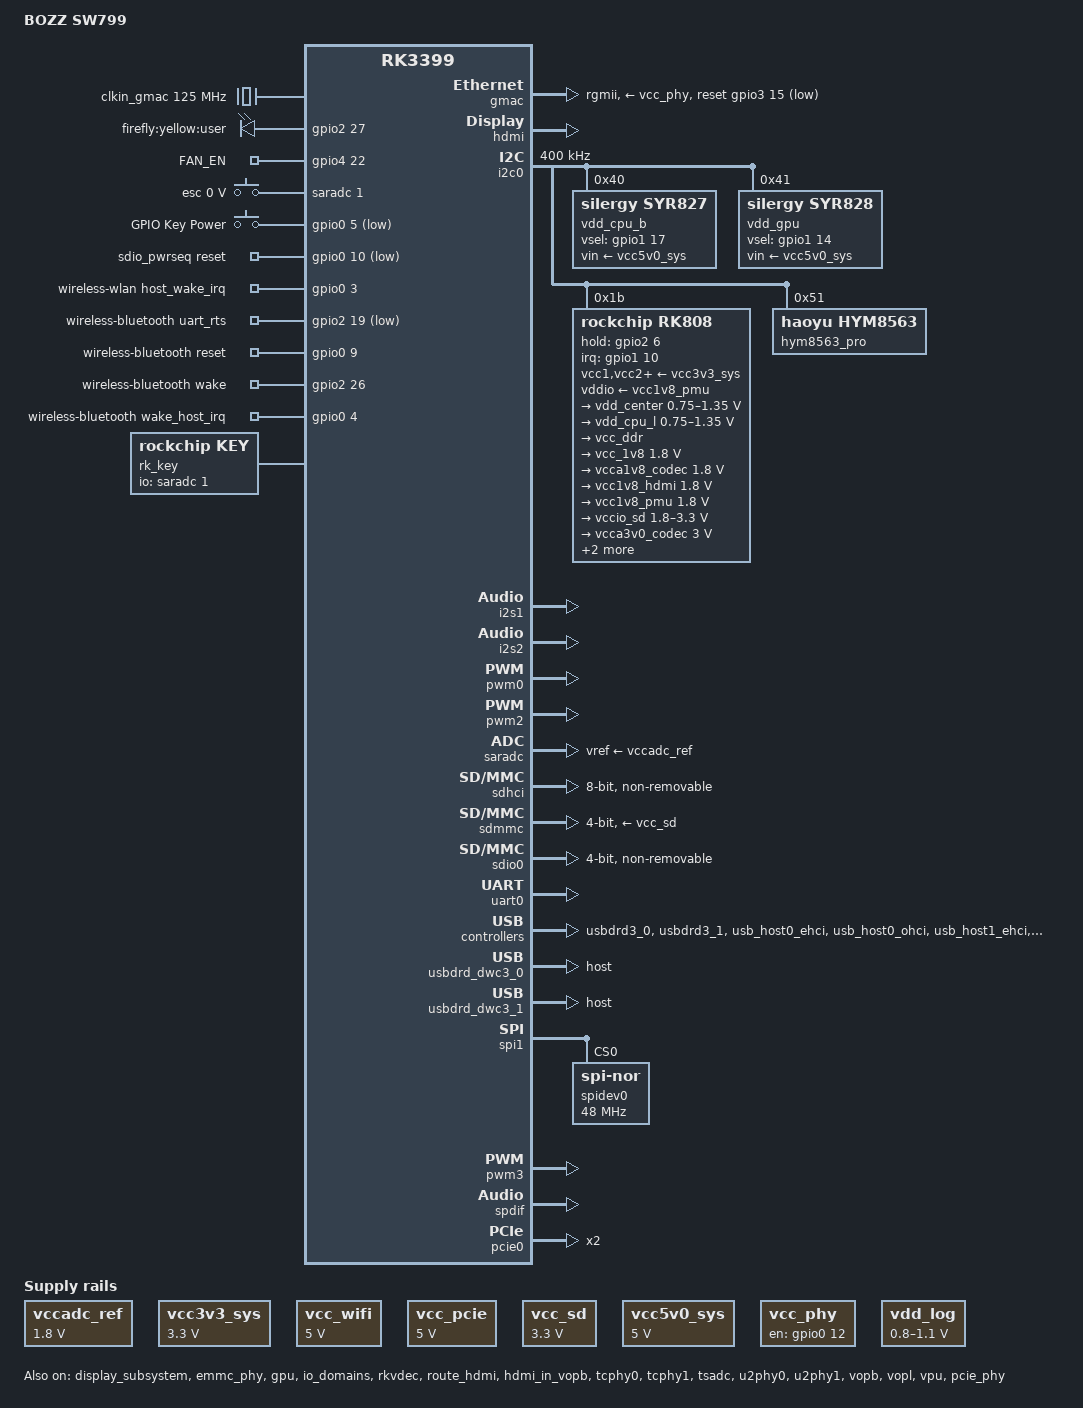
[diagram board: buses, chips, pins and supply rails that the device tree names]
/dts-v1/;

#include "dt-bindings/pwm/pwm.h"
#include "rk3399.dtsi"
#include "rk3399-opp.dtsi"
#include "rk3399-linux.dtsi"
#include <dt-bindings/input/input.h>
#include <dt-bindings/display/media-bus-format.h>
//#include "include/uapi/drm/drm_mode.h"

/ {
	model = "BOZZ SW799";
	compatible = "bozz,sw799", "rockchip,rk3399";

	iram: sram@ff8d0000 {
		compatible = "mmio-sram";
		reg = <0x0 0xff8d0000 0x0 0x20000>; /* 128k */
	};

	clkin_gmac: external-gmac-clock {
		compatible = "fixed-clock";
		clock-frequency = <125000000>;
		clock-output-names = "clkin_gmac";
		#clock-cells = <0>;
	};

	hdmi_sound: hdmi-sound {
		status = "okay";
		compatible = "simple-audio-card";
		simple-audio-card,format = "i2s";
		simple-audio-card,mclk-fs = <256>;
		simple-audio-card,name = "rockchip,hdmi";

		simple-audio-card,cpu {
			sound-dai = <&i2s2>;
		};
		simple-audio-card,codec {
			sound-dai = <&hdmi>;
		};
	};

	vccadc_ref: vccadc-ref {
		compatible = "regulator-fixed";
		regulator-name = "vcc1v8_sys";
		regulator-always-on;
		regulator-boot-on;
		regulator-min-microvolt = <1800000>;
		regulator-max-microvolt = <1800000>;
	};

	vcc3v3_sys: vcc3v3-sys {
		compatible = "regulator-fixed";
		regulator-name = "vcc3v3_sys";
		regulator-always-on;
		regulator-boot-on;
		regulator-min-microvolt = <3300000>;
		regulator-max-microvolt = <3300000>;
	};

	vcc_wifi: vcc-wifi {
		status = "okay";
		compatible = "regulator-fixed";
		regulator-name = "vcc_wifi";
		regulator-always-on;
		regulator-boot-on;
		regulator-min-microvolt = <5000000>;
		regulator-max-microvolt = <5000000>;
	};

	vcc_pcie: vcc-pcie {
		status = "okay";
		compatible = "regulator-fixed";
		regulator-name = "vcc_pcie";
		regulator-always-on;
		regulator-boot-on;
		regulator-min-microvolt = <5000000>;
		regulator-max-microvolt = <5000000>;
	};

	vcc_sd: vcc-sd {
		compatible = "regulator-fixed";
		regulator-name = "vcc_sd";
		regulator-always-on;
		regulator-boot-on;
		regulator-min-microvolt = <3300000>;
		regulator-max-microvolt = <3300000>;
	};

	vcc5v0_sys: vcc5v0-sys {
		compatible = "regulator-fixed";
		regulator-name = "vcc5v0_sys";
		regulator-always-on;
		regulator-boot-on;
		regulator-min-microvolt = <5000000>;
		regulator-max-microvolt = <5000000>;
	};

	vcc_phy: vcc-phy-regulator {
		compatible = "regulator-fixed";
		enable-active-high;
		gpio = <&gpio0 12 GPIO_ACTIVE_HIGH>;
		pinctrl-names = "default";
		pinctrl-0 = <&vcc_phy_h>;
		regulator-name = "vcc_phy";
		regulator-always-on;
		regulator-boot-on;
	};

	vdd_log: vdd-log {
		compatible = "pwm-regulator";
		pwms = <&pwm2 0 25000 1>;
		regulator-name = "vdd_log";
		regulator-min-microvolt = <800000>;
		regulator-max-microvolt = <1100000>;
		regulator-always-on;
		regulator-boot-on;

		/* for rockchip boot on */
		rockchip,pwm_id= <2>;
		rockchip,pwm_voltage = <1000000>;
	};

	leds {
		compatible = "gpio-leds";
		user {
			label = "firefly:yellow:user";
			linux,default-trigger = "ir-user-click";
			default-state = "off";
			gpios = <&gpio2 27 GPIO_ACTIVE_HIGH>;
			pinctrl-names = "default";
			pinctrl-0 = <&led_user>;
		};

		FAN_EN {
			//fan power
			gpios = <&gpio4 22 GPIO_ACTIVE_HIGH>;	//GPIO1_A1
			default-state = "on";
		};
	};

	adc-keys {
		compatible = "adc-keys";
		io-channels = <&saradc 1>;
		io-channel-names = "buttons";
		poll-interval = <300>;
		keyup-threshold-microvolt = <1800000>;

		esc-key {
			linux,code = <KEY_ESC>;
			label = "esc";
			press-threshold-microvolt = <0>;
		};
	};

	gpio-keys {
		compatible = "gpio-keys";
		#address-cells = <1>;
		#size-cells = <0>;
		autorepeat;

		pinctrl-names = "default";
		pinctrl-0 = <&pwrbtn>;

		button@0 {
			gpios = <&gpio0 5 GPIO_ACTIVE_LOW>;
			linux,code = <KEY_POWER>;
			label = "GPIO Key Power";
			linux,input-type = <1>;
			gpio-key,wakeup = <1>;
			debounce-interval = <100>;
		};
	};

	sdio_pwrseq: sdio-pwrseq {
		compatible = "mmc-pwrseq-simple";
		clocks = <&rk808 1>;
		clock-names = "ext_clock";
		pinctrl-names = "default";
		pinctrl-0 = <&wifi_enable_h>;

		/*
		 * On the module itself this is one of these (depending
		 * on the actual card populated):
		 * - SDIO_RESET_L_WL_REG_ON
		 * - PDN (power down when low)
		 */
		reset-gpios = <&gpio0 10 GPIO_ACTIVE_LOW>; /* GPIO0_B2 */
	};

	wireless-wlan {
		compatible = "wlan-platdata";
		rockchip,grf = <&grf>;
		wifi_chip_type = "ap6356s";
		sdio_vref = <1800>;
		WIFI,host_wake_irq = <&gpio0 3 GPIO_ACTIVE_HIGH>; /* GPIO0_a3 */
		status = "okay";
	};

	wireless-bluetooth {
		compatible = "bluetooth-platdata";
		clocks = <&rk808 1>;
		clock-names = "ext_clock";
		//wifi-bt-power-toggle;
		uart_rts_gpios = <&gpio2 19 GPIO_ACTIVE_LOW>; /* GPIO2_C3 */
		pinctrl-names = "default", "rts_gpio";
		pinctrl-0 = <&uart0_rts>;
		pinctrl-1 = <&uart0_gpios>;
		//BT,power_gpio  = <&gpio3 19 GPIO_ACTIVE_HIGH>; /* GPIOx_xx */
		BT,reset_gpio    = <&gpio0 9 GPIO_ACTIVE_HIGH>; /* GPIO0_B1 */
		BT,wake_gpio     = <&gpio2 26 GPIO_ACTIVE_HIGH>; /* GPIO2_D2 */
		BT,wake_host_irq = <&gpio0 4 GPIO_ACTIVE_HIGH>; /* GPIO0_A4 */
		status = "okay";
	};

	rk_key: rockchip-key {
		compatible = "rockchip,key";
		io-channels = <&saradc 1>;
		status = "okay";

		power-key {
			gpios = <&gpio0 5 GPIO_ACTIVE_LOW>;
			linux,code = <116>;
			label = "power";
			gpio-key,wakeup;
			status = "disabled";
		};

		recovery-key {
			linux,code = <113>;
			label = "F12";
			rockchip,adc_value = <4>;
		};
	};

};

&cpu_l0 {
	cpu-supply = <&vdd_cpu_l>;
};

&cpu_l1 {
	cpu-supply = <&vdd_cpu_l>;
};

&cpu_l2 {
	cpu-supply = <&vdd_cpu_l>;
};

&cpu_l3 {
	cpu-supply = <&vdd_cpu_l>;
};

&cpu_b0 {
	cpu-supply = <&vdd_cpu_b>;
};

&cpu_b1 {
	cpu-supply = <&vdd_cpu_b>;
};

&display_subsystem {
	status = "okay";
};

&emmc_phy {
	status = "okay";
};

&gmac {
	phy-supply = <&vcc_phy>;
	phy-mode = "rgmii";
	clock_in_out = "input";
	snps,reset-gpio = <&gpio3 15 GPIO_ACTIVE_LOW>;
	snps,reset-active-low;
	snps,reset-delays-us = <0 10000 50000>;
	assigned-clocks = <&cru SCLK_RMII_SRC>;
	assigned-clock-parents = <&clkin_gmac>;
	pinctrl-names = "default";
	pinctrl-0 = <&rgmii_pins>;
	tx_delay = <0x28>;
	rx_delay = <0x11>;
	status = "okay";
};

&gpu {
	status = "okay";
	mali-supply = <&vdd_gpu>;
};

&hdmi {
	#address-cells = <1>;
	#size-cells = <0>;
	#sound-dai-cells = <0>;
	status = "okay";
};

&i2c0 {
	status = "okay";
	i2c-scl-rising-time-ns = <168>;
	i2c-scl-falling-time-ns = <4>;
	clock-frequency = <400000>;

	vdd_cpu_b: syr827@40 {
		compatible = "silergy,syr827";
		reg = <0x40>;
		vin-supply = <&vcc5v0_sys>;
		regulator-compatible = "fan53555-reg";
		regulator-name = "vdd_cpu_b";
		regulator-min-microvolt = <712500>;
		regulator-max-microvolt = <1500000>;
		regulator-ramp-delay = <1000>;
		pinctrl-0 = <&vsel1_gpio>;
		vsel-gpios = <&gpio1 17 GPIO_ACTIVE_HIGH>;
		fcs,suspend-voltage-selector = <1>;
		regulator-always-on;
		regulator-boot-on;
		regulator-initial-state = <3>;
			regulator-state-mem {
				regulator-off-in-suspend;
			};
	};

	vdd_gpu: syr828@41 {
		compatible = "silergy,syr828";
		reg = <0x41>;
		vin-supply = <&vcc5v0_sys>;
		pinctrl-0 = <&vsel2_gpio>;
		vsel-gpios = <&gpio1 14 GPIO_ACTIVE_HIGH>;
		regulator-compatible = "fan53555-reg";
		regulator-name = "vdd_gpu";
		regulator-min-microvolt = <712500>;
		regulator-max-microvolt = <1500000>;
		regulator-ramp-delay = <1000>;
		fcs,suspend-voltage-selector = <1>;
		regulator-always-on;
		regulator-boot-on;
		regulator-initial-state = <3>;
			regulator-state-mem {
				regulator-off-in-suspend;
			};
	};

	rk808: pmic@1b {
		compatible = "rockchip,rk808";
		reg = <0x1b>;
		interrupt-parent = <&gpio1>;
		interrupts = <10 IRQ_TYPE_LEVEL_LOW>;
		pinctrl-names = "default";
		//pinctrl-0 = <&pmic_int_l &pmic_dvs2>;
		pinctrl-0 = <&pmic_int_l &pmic_dvs2>;
		rockchip,system-power-controller;
		wakeup-source;
		#clock-cells = <1>;
		clock-output-names = "xin32k", "rk808-clkout2";

		pmic,hold-gpio = <&gpio2 6 GPIO_ACTIVE_HIGH>;

		//vin-supply = <&sys_12v>;

		vcc1-supply = <&vcc3v3_sys>;
		vcc2-supply = <&vcc3v3_sys>;
		vcc3-supply = <&vcc3v3_sys>;
		vcc4-supply = <&vcc3v3_sys>;
		vcc6-supply = <&vcc3v3_sys>;
		vcc7-supply = <&vcc3v3_sys>;
		vcc8-supply = <&vcc3v3_sys>;
		vcc9-supply = <&vcc3v3_sys>;
		vcc10-supply = <&vcc3v3_sys>;
		vcc11-supply = <&vcc3v3_sys>;
		vcc12-supply = <&vcc3v3_sys>;
		vddio-supply = <&vcc1v8_pmu>;

		 /* RTC */

		rtc {
			status = "disabled";
		};

		regulators {
			vdd_center: DCDC_REG1 {
				regulator-always-on;
				regulator-boot-on;
				regulator-min-microvolt = <750000>;
				regulator-max-microvolt = <1350000>;
				regulator-ramp-delay = <6001>;
				regulator-name = "vdd_center";
				regulator-state-mem {
					regulator-off-in-suspend;
				};
			};

			vdd_cpu_l: DCDC_REG2 {
				regulator-always-on;
				regulator-boot-on;
				regulator-min-microvolt = <750000>;
				regulator-max-microvolt = <1350000>;
				regulator-ramp-delay = <6001>;
				regulator-name = "vdd_cpu_l";
				regulator-state-mem {
					regulator-off-in-suspend;
				};
			};

			vcc_ddr: DCDC_REG3 {
				regulator-always-on;
				regulator-boot-on;
				regulator-name = "vcc_ddr";
				regulator-state-mem {
					regulator-on-in-suspend;
				};
			};

			vcc_1v8: DCDC_REG4 {
				regulator-always-on;
				regulator-boot-on;
				regulator-min-microvolt = <1800000>;
				regulator-max-microvolt = <1800000>;
				regulator-name = "vcc_1v8";
				regulator-state-mem {
					regulator-on-in-suspend;
					regulator-suspend-microvolt = <1800000>;
				};
			};

			vcca1v8_codec: LDO_REG1 {
				regulator-always-on;
				regulator-boot-on;
				regulator-min-microvolt = <1800000>;
				regulator-max-microvolt = <1800000>;
				regulator-name = "vcca1v8_codec";
				regulator-state-mem {
					regulator-off-in-suspend;
				};
			};

			vcc1v8_hdmi: LDO_REG2 {
				regulator-always-on;
				regulator-boot-on;
				regulator-min-microvolt = <1800000>;
				regulator-max-microvolt = <1800000>;
				regulator-name = "vcc1v8_hdmi";
				regulator-state-mem {
					regulator-off-in-suspend;
				};
			};

			vcc1v8_pmu: LDO_REG3 {
				regulator-always-on;
				regulator-boot-on;
				regulator-min-microvolt = <1800000>;
				regulator-max-microvolt = <1800000>;
				regulator-name = "vcc1v8_pmu";
				regulator-state-mem {
					regulator-on-in-suspend;
					regulator-suspend-microvolt = <1800000>;
				};
			};

			vccio_sd: LDO_REG4 {
				regulator-always-on;
				regulator-boot-on;
				regulator-min-microvolt = <1800000>;
				regulator-max-microvolt = <3300000>;
				regulator-name = "vccio_sd";
				regulator-state-mem {
					regulator-on-in-suspend;
					regulator-suspend-microvolt = <3300000>;
				};
			};

			vcca3v0_codec: LDO_REG5 {
				regulator-always-on;
				regulator-boot-on;
				regulator-min-microvolt = <3000000>;
				regulator-max-microvolt = <3000000>;
				regulator-name = "vcca3v0_codec";
				regulator-state-mem {
					regulator-off-in-suspend;
				};
			};

			vcc_1v5: LDO_REG6 {
				regulator-always-on;
				regulator-boot-on;
				regulator-min-microvolt = <1500000>;
				regulator-max-microvolt = <1500000>;
				regulator-name = "vcc_1v5";
				regulator-state-mem {
					regulator-on-in-suspend;
					regulator-suspend-microvolt = <1500000>;
				};
			};

			vcca0v9_hdmi: LDO_REG7 {
				regulator-always-on;
				regulator-boot-on;
				regulator-min-microvolt = <900000>;
				regulator-max-microvolt = <900000>;
				regulator-name = "vcca0v9_hdmi";
				regulator-state-mem {
					regulator-off-in-suspend;
				};
			};

			vcc_3v0: LDO_REG8 {
				regulator-always-on;
				regulator-boot-on;
				regulator-min-microvolt = <3000000>;
				regulator-max-microvolt = <3000000>;
				regulator-name = "vcc_3v0";
				regulator-state-mem {
					regulator-on-in-suspend;
					regulator-suspend-microvolt = <3000000>;
				};
			};

			vcc3v3_s3: SWITCH_REG1 {
				regulator-always-on;
				regulator-boot-on;
				regulator-name = "vcc3v3_s3";
				regulator-state-mem {
					regulator-off-in-suspend;
				};
			};

			vcc3v3_s0: SWITCH_REG2 {
				regulator-always-on;
				regulator-boot-on;
				regulator-name = "vcc3v3_s0";
				regulator-state-mem {
					regulator-off-in-suspend;
				};
			};
		};
	};

	hym8563_pro: hym8563_pro@51 {
		compatible = "haoyu,hym8563";
		reg = <0x51>;
		status = "okay";
	};
};

&i2s1 {
	status = "okay";
	rockchip,i2s-broken-burst-len;
	rockchip,playback-channels = <2>;
	rockchip,capture-channels = <2>;
	#sound-dai-cells = <0>;
	assigned-clocks = <&cru SCLK_I2S1_DIV>, <&cru SCLK_I2S_8CH>;
	assigned-clock-parents = <&cru PLL_GPLL>, <&cru SCLK_I2S1_8CH>;
};

&i2s2 {
	#sound-dai-cells = <0>;
	dmas = <&dmac_bus 4>;
	dma-names = "tx";
	status = "okay";
};

&io_domains {
	status = "okay";
	bt656-supply = <&vcc_3v0>;		/* bt656_gpio2ab_ms */
	audio-supply = <&vcca1v8_codec>;	/* audio_gpio3d4a_ms */
	sdmmc-supply = <&vccio_sd>;		/* sdmmc_gpio4b_ms */
	gpio1830-supply = <&vcc_3v0>;		/* gpio1833_gpio4cd_ms */
};

&pmu_io_domains {
	status = "okay";
	pmu1830-supply = <&vcc_1v8>;
};

&pwm0 {
	status = "okay";
};

&pwm2 {
	status = "okay";
	pinctrl-names = "active";
	pinctrl-0 = <&pwm2_pin_pull_down>;
};

&rkvdec {
	status = "okay";
};

&rockchip_suspend {
	status = "okay";
	rockchip,sleep-debug-en = <1>;
	rockchip,sleep-mode-config = <
		(0
		| RKPM_SLP_ARMPD
		| RKPM_SLP_PERILPPD
		| RKPM_SLP_DDR_RET
		| RKPM_SLP_PLLPD
		| RKPM_SLP_CENTER_PD
		| RKPM_SLP_AP_PWROFF
		)
	>;
	rockchip,wakeup-config = <
		(0
		| RKPM_GPIO_WKUP_EN
		| RKPM_PWM_WKUP_EN
		)
	>;
	rockchip,pwm-regulator-config = <
		(0
		| PWM2_REGULATOR_EN
		)
	>;
	rockchip,power-ctrl =
		<&gpio1 18 GPIO_ACTIVE_LOW>,
		<&gpio1 14 GPIO_ACTIVE_HIGH>;
};

&route_hdmi {
	status = "okay";
};

&hdmi_in_vopb {
	status = "okay";
};

&hdmi_in_vopl {
	status = "disabled";
};

&saradc {
	status = "okay";
	vref-supply = <&vccadc_ref>;
};

&sdhci {
	bus-width = <8>;
	keep-power-in-suspend;
	mmc-hs400-1_8v;
	mmc-hs400-enhanced-strobe;
	non-removable;
	status = "okay";
	supports-emmc;
};

&sdmmc {
	//max-frequncy = <150000000>;
	clock-frequency = <150000000>;
	clock-freq-min-max = <100000 150000000>;
	supports-sd;
	bus-width = <4>;
	cap-mmc-highspeed;
	cap-sd-highspeed;
	disable-wp;
	num-slots = <1>;
	sd-uhs-sdr104;
	vmmc-supply = <&vcc_sd>;
	vqmmc-supply = <&vccio_sd>;
	//vqmmc-supply = <&vcc_sd>;
	pinctrl-names = "default";
	pinctrl-0 = <&sdmmc_clk &sdmmc_cmd &sdmmc_cd &sdmmc_bus4>;
	status = "okay";
};

&sdio0 {
	max-frequency = <100000000>;
	supports-sdio;
	bus-width = <4>;
	disable-wp;
	cap-sd-highspeed;
	keep-power-in-suspend;
	mmc-pwrseq = <&sdio_pwrseq>;
	non-removable;
	num-slots = <1>;
	pinctrl-names = "default";
	pinctrl-0 = <&sdio0_bus4 &sdio0_cmd &sdio0_clk>;
	sd-uhs-sdr104;
	status = "okay";
};

&tcphy0 {
	status = "okay";
};

&tcphy1 {
	status = "okay";
};

&tsadc {
	/* tshut mode 0:CRU 1:GPIO */
	rockchip,hw-tshut-mode = <1>;
	/* tshut polarity 0:LOW 1:HIGH */
	rockchip,hw-tshut-polarity = <1>;
	status = "okay";
};

&u2phy0 {
	status = "okay";

	u2phy0_otg: otg-port {
		status = "okay";
	};

	u2phy0_host: host-port {
		status = "okay";
	};
};

&u2phy1 {
	status = "okay";

	u2phy1_otg: otg-port {
		status = "okay";
	};

	u2phy1_host: host-port {
		status = "okay";
	};
};

&uart0 {
	pinctrl-names = "default";
	pinctrl-0 = <&uart0_xfer &uart0_cts>;
	status = "okay";
};

&uart2 {
	status = "disabled";
};

&usbdrd3_0 {
	status = "okay";
};

&usbdrd3_1 {
	status = "okay";
};

&usbdrd_dwc3_0 {
	status = "okay";
	dr_mode = "host";
};

&usbdrd_dwc3_1 {
	status = "okay";
	dr_mode = "host";
};

&usb_host0_ehci {
	status = "okay";
};

&usb_host0_ohci {
	status = "okay";
};

&usb_host1_ehci {
	status = "okay";
};

&usb_host1_ohci {
	status = "okay";
	pinctrl-names = "default";
};

&spi1 {
	status = "okay";
	max-freq = <48000000>;
	dev-port = <0>;

	spidev0: spidev@00 {
		status = "okay";
		//compatible = "linux,spidev";
		compatible = "jedec,spi-nor";
		reg = <0x00>;
		spi-max-frequency = <48000000>;
	};
};

&pwm3 {
	status = "okay";
	interrupts = <GIC_SPI 61 IRQ_TYPE_LEVEL_HIGH 0>;
	compatible = "rockchip,remotectl-pwm";
	pinctrl-names = "default";
	remote_pwm_id = <3>;
	handle_cpu_id = <0>;
	remote_support_psci = <1>;

	ir_key1{
        rockchip,usercode = <0xff00>;
        rockchip,key_table =
            <0xeb   KEY_POWER>,
            <0xec   KEY_MENU>,
            <0xfe   KEY_BACK>,
            <0xb7   KEY_HOME>,
            <0xa3   KEY_WWW>,
            <0xf4   KEY_VOLUMEUP>,
            <0xa7   KEY_VOLUMEDOWN>,
            <0xf8   KEY_REPLY>,
            <0xfc   KEY_UP>,
            <0xfd   KEY_DOWN>,
            <0xf1   KEY_LEFT>,
            <0xe5   KEY_RIGHT>;
    };
};

&vopb {
	status = "okay";
};
&vopb_mmu {
	status = "okay";
};
&vopl {
	status = "okay";
};
&vopl_mmu {
	status = "okay";
};
&vpu {
	status = "okay";
};

&spdif {
	status = "okay";
	pinctrl-0 = <&spdif_bus_1>;
	i2c-scl-rising-time-ns = <450>;
	i2c-scl-falling-time-ns = <15>;
	#sound-dai-cells = <0>;
};

&pinctrl {
	pmic {
		vsel1_gpio: vsel1-gpio {
			rockchip,pins =
				<1 17 RK_FUNC_GPIO &pcfg_pull_down>;
		};

		vsel2_gpio: vsel2-gpio {
			rockchip,pins =
			<1 14 RK_FUNC_GPIO &pcfg_pull_down>;
		};

		pmic_int_l: pmic-int-l {
			rockchip,pins =
				<1 10 RK_FUNC_GPIO &pcfg_pull_up>;
		};

		pmic_dvs2: pmic-dvs2 {
			rockchip,pins =
				<1 18 RK_FUNC_GPIO &pcfg_pull_down>;
		};
	};

	leds {
	       led_user: led-user {
		       rockchip,pins =
		       <2 27 RK_FUNC_GPIO &pcfg_pull_none>;
		       };
	};

	vcc_phy {
		vcc_phy_h: vcc-phy-h {
			rockchip,pins = <0 12 RK_FUNC_GPIO &pcfg_pull_up>;
		};
	};

	sdio-pwrseq {
		wifi_enable_h: wifi-enable-h {
			rockchip,pins =
				<0 10 RK_FUNC_GPIO &pcfg_pull_none>;
		};
	};

	wireless-bluetooth {
		uart0_gpios: uart0-gpios {
			rockchip,pins =
				<2 19 RK_FUNC_GPIO &pcfg_pull_none>;
		};
	};

	buttons {
		pwrbtn: pwrbtn {
			rockchip,pins = <0 5 RK_FUNC_GPIO &pcfg_pull_up>;
		};
	};

};

&pcie_phy {
	status = "okay";
};

&pcie0 {
	ep-gpios = <&gpio4 27 GPIO_ACTIVE_HIGH>;
	num-lanes = <2>;
	pinctrl-names = "default";
	pinctrl-0 = <&pcie_clkreqnb_cpm>;
	status = "okay";
};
